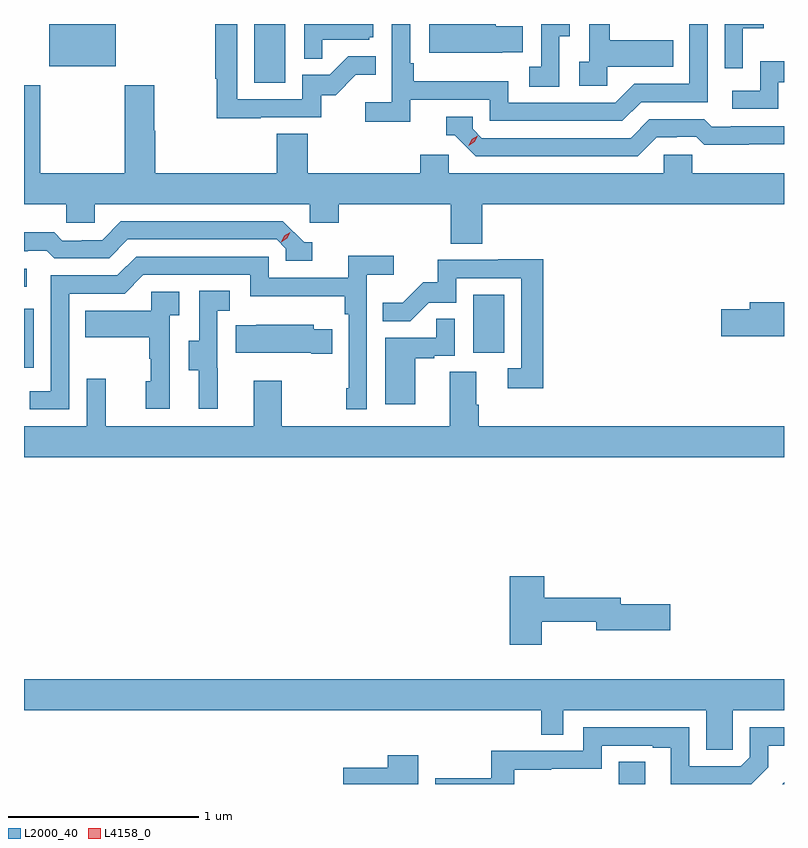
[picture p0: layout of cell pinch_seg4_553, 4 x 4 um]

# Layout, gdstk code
import gdstk
lib = gdstk.Library(unit=1e-6, precision=1e-09)
def R(c, l, rs):  # rectangles x0, y0, x1, y1
    for r in rs: c.add(gdstk.rectangle(r[:2], r[2:], *l))
def P(c, l, *ps):  # polygons
    for p in ps: c.add(gdstk.Polygon(p, *l))
L2000_40 = (2000, 40)
L4158_0 = (4158, 0)

pinch_seg4_553 = lib.new_cell('pinch_seg4_553')
R(pinch_seg4_553, L2000_40, [(1103.633,780.449,1103.773,780.566), (1100.504,782.64,1100.556,782.95), (1102.868,782.718,1103.032,783.025), (1100.504,783.066,1100.518,783.162), (1101.716,784.14,1101.88,784.447), (1100.636,784.226,1100.986,784.449)])
P(pinch_seg4_553, L2000_40, [(1102.538,784.05),(1102.956,784.05),(1102.956,783.939),(1103.653,783.939),(1103.752,784.038),(1104.102,784.038),(1104.102,784.449),(1104.006,784.449),(1104.006,784.134),(1103.715,784.134),(1103.616,784.035),(1103.052,784.035),(1103.052,784.147),(1102.556,784.147),(1102.556,784.243),(1102.536,784.243),(1102.536,784.449),(1102.44,784.449),(1102.44,784.036),(1102.299,784.036),(1102.299,783.934),(1102.538,783.934)],
  [(1103.322,784.384),(1103.377,784.384),(1103.377,784.449),(1103.226,784.449),(1103.226,784.223),(1103.163,784.223),(1103.163,784.12),(1103.322,784.12)],
  [(1101.749,783.957),(1102.068,783.957),(1102.068,784.074),(1102.144,784.074),(1102.251,784.181),(1102.355,784.181),(1102.355,784.28),(1102.211,784.28),(1102.113,784.182),(1101.969,784.182),(1101.969,784.053),(1101.627,784.053),(1101.627,784.449),(1101.511,784.449),(1101.511,784.16),(1101.519,784.16),(1101.519,783.952),(1101.749,783.952)],
  [(1102.073,784.365),(1102.32,784.365),(1102.32,784.38),(1102.342,784.38),(1102.342,784.449),(1101.978,784.449),(1101.978,784.267),(1102.073,784.267)],
  [(1104.288,784.427),(1104.398,784.427),(1104.398,784.449),(1104.192,784.449),(1104.192,784.215),(1104.288,784.215)],
  [(1103.021,784.301),(1103.129,784.301),(1103.129,784.438),(1102.986,784.438),(1102.986,784.449),(1102.638,784.449),(1102.638,784.298),(1103.021,784.298)],
  [(1103.574,784.223),(1103.921,784.223),(1103.921,784.363),(1103.587,784.363),(1103.587,784.449),(1103.478,784.449),(1103.478,784.25),(1103.427,784.25),(1103.427,784.125),(1103.574,784.125)],
  [(1104.474,784.143),(1104.504,784.143),(1104.504,784.252),(1104.378,784.252),(1104.378,784.098),(1104.231,784.098),(1104.231,784.002),(1104.474,784.002)],
  [(1102.916,783.5),(1104.504,783.5),(1104.504,783.664),(1104.021,783.664),(1104.021,783.762),(1103.871,783.762),(1103.871,783.664),(1102.74,783.664),(1102.74,783.762),(1102.589,783.762),(1102.589,783.664),(1101.998,783.664),(1101.998,783.872),(1101.833,783.872),(1101.833,783.664),(1101.194,783.664),(1101.194,783.887),(1101.189,783.887),(1101.189,784.126),(1101.034,784.126),(1101.034,783.664),(1100.589,783.664),(1100.589,784.126),(1100.504,784.126),(1100.504,783.5),(1100.727,783.5),(1100.727,783.402),(1100.877,783.402),(1100.877,783.5),(1102.008,783.5),(1102.008,783.402),(1102.16,783.402),(1102.16,783.5),(1102.751,783.5),(1102.751,783.292),(1102.916,783.292)],
  [(1103.833,783.852),(1103.94,783.852),(1103.94,783.855),(1104.043,783.855),(1104.085,783.813),(1104.318,783.813),(1104.318,783.815),(1104.504,783.815),(1104.504,783.912),(1104.223,783.912),(1104.223,783.909),(1104.124,783.909),(1104.085,783.948),(1103.796,783.948),(1103.697,783.849),(1102.914,783.849),(1102.866,783.897),(1102.866,783.96),(1102.727,783.96),(1102.727,783.864),(1102.77,783.864),(1102.881,783.753),(1103.734,783.753)],
  [(1102.021,783.3),(1101.978,783.3),(1101.867,783.411),(1101.014,783.411),(1100.915,783.312),(1100.808,783.312),(1100.808,783.309),(1100.705,783.309),(1100.663,783.352),(1100.504,783.352),(1100.504,783.252),(1100.525,783.252),(1100.525,783.255),(1100.624,783.255),(1100.663,783.216),(1100.952,783.216),(1101.051,783.315),(1101.834,783.315),(1101.882,783.267),(1101.882,783.204),(1102.021,783.204)],
  [(1100.742,783.03),(1101.033,783.03),(1101.132,783.129),(1101.696,783.129),(1101.696,783.017),(1102.192,783.017),(1102.192,782.921),(1102.212,782.921),(1102.212,782.533),(1102.2,782.533),(1102.2,782.421),(1102.308,782.421),(1102.308,783.128),(1102.45,783.128),(1102.45,783.23),(1102.211,783.23),(1102.211,783.114),(1101.792,783.114),(1101.792,783.225),(1101.095,783.225),(1100.996,783.126),(1100.646,783.126),(1100.646,782.517),(1100.533,782.517),(1100.533,782.421),(1100.742,782.421)],
  [(1103.237,783.212),(1102.999,783.212),(1102.999,783.207),(1102.681,783.207),(1102.681,783.09),(1102.604,783.09),(1102.497,782.983),(1102.393,782.983),(1102.393,782.884),(1102.537,782.884),(1102.635,782.982),(1102.779,782.982),(1102.779,783.111),(1103.121,783.111),(1103.121,782.637),(1103.049,782.637),(1103.049,782.532),(1103.237,782.532)],
  [(1101.524,782.637),(1101.522,782.637),(1101.522,782.941),(1101.586,782.941),(1101.586,783.044),(1101.426,783.044),(1101.426,782.781),(1101.371,782.781),(1101.371,782.626),(1101.425,782.626),(1101.425,782.424),(1101.524,782.424)],
  [(1101.27,782.915),(1101.322,782.915),(1101.322,783.039),(1101.174,783.039),(1101.174,782.941),(1100.827,782.941),(1100.827,782.801),(1101.162,782.801),(1101.162,782.687),(1101.172,782.687),(1101.172,782.568),(1101.146,782.568),(1101.146,782.424),(1101.27,782.424)],
  [(1104.504,782.984),(1104.323,782.984),(1104.323,782.948),(1104.174,782.948),(1104.174,782.806),(1104.504,782.806)],
  [(1102.564,782.691),(1102.664,782.691),(1102.664,782.703),(1102.77,782.703),(1102.77,782.897),(1102.675,782.897),(1102.675,782.799),(1102.406,782.799),(1102.406,782.448),(1102.564,782.448)],
  [(1102.127,782.842),(1102.029,782.842),(1102.029,782.866),(1101.727,782.866),(1101.727,782.863),(1101.619,782.863),(1101.619,782.72),(1102.016,782.72),(1102.016,782.713),(1102.127,782.713)],
  [(1104.504,782.332),(1102.898,782.332),(1102.898,782.444),(1102.885,782.444),(1102.885,782.618),(1102.745,782.618),(1102.745,782.332),(1101.861,782.332),(1101.861,782.572),(1101.713,782.572),(1101.713,782.332),(1100.933,782.332),(1100.933,782.581),(1100.835,782.581),(1100.835,782.332),(1100.504,782.332),(1100.504,782.168),(1104.504,782.168)],
  [(1103.23,781.302),(1103.516,781.302),(1103.516,781.259),(1103.905,781.259),(1103.905,781.394),(1103.644,781.394),(1103.644,781.43),(1103.243,781.43),(1103.243,781.543),(1103.06,781.543),(1103.06,781.182),(1103.23,781.182)],
  [(1104.234,780.836),(1104.504,780.836),(1104.504,781),(1100.504,781),(1100.504,780.836),(1103.227,780.836),(1103.227,780.709),(1103.343,780.709),(1103.343,780.836),(1104.095,780.836),(1104.095,780.628),(1104.234,780.628)],
  [(1103.083,780.523),(1103.279,780.523),(1103.279,780.528),(1103.544,780.528),(1103.544,780.651),(1103.813,780.651),(1103.813,780.639),(1103.909,780.639),(1103.909,780.449),(1104.332,780.449),(1104.42,780.537),(1104.42,780.651),(1104.504,780.651),(1104.504,780.747),(1104.324,780.747),(1104.324,780.591),(1104.276,780.543),(1104.006,780.543),(1104.006,780.747),(1103.448,780.747),(1103.448,780.624),(1102.962,780.624),(1102.962,780.478),(1102.668,780.478),(1102.668,780.449),(1103.083,780.449)],
  [(1102.579,780.601),(1102.418,780.601),(1102.418,780.535),(1102.184,780.535),(1102.184,780.449),(1102.579,780.449)],
  [(1104.504,780.459),(1104.494,780.449),(1104.504,780.449)])
P(pinch_seg4_553, L4158_0, [(1101.858,783.301),(1101.858,783.302),(1101.874,783.334),(1101.905,783.353),(1101.905,783.353),(1101.905,783.353),(1101.889,783.321),(1101.858,783.301)],
  [(1102.845,783.809),(1102.845,783.809),(1102.861,783.842),(1102.891,783.861),(1102.891,783.861),(1102.891,783.861),(1102.876,783.828),(1102.846,783.809)])

lib.write_gds('pinch_seg4_553.gds')
